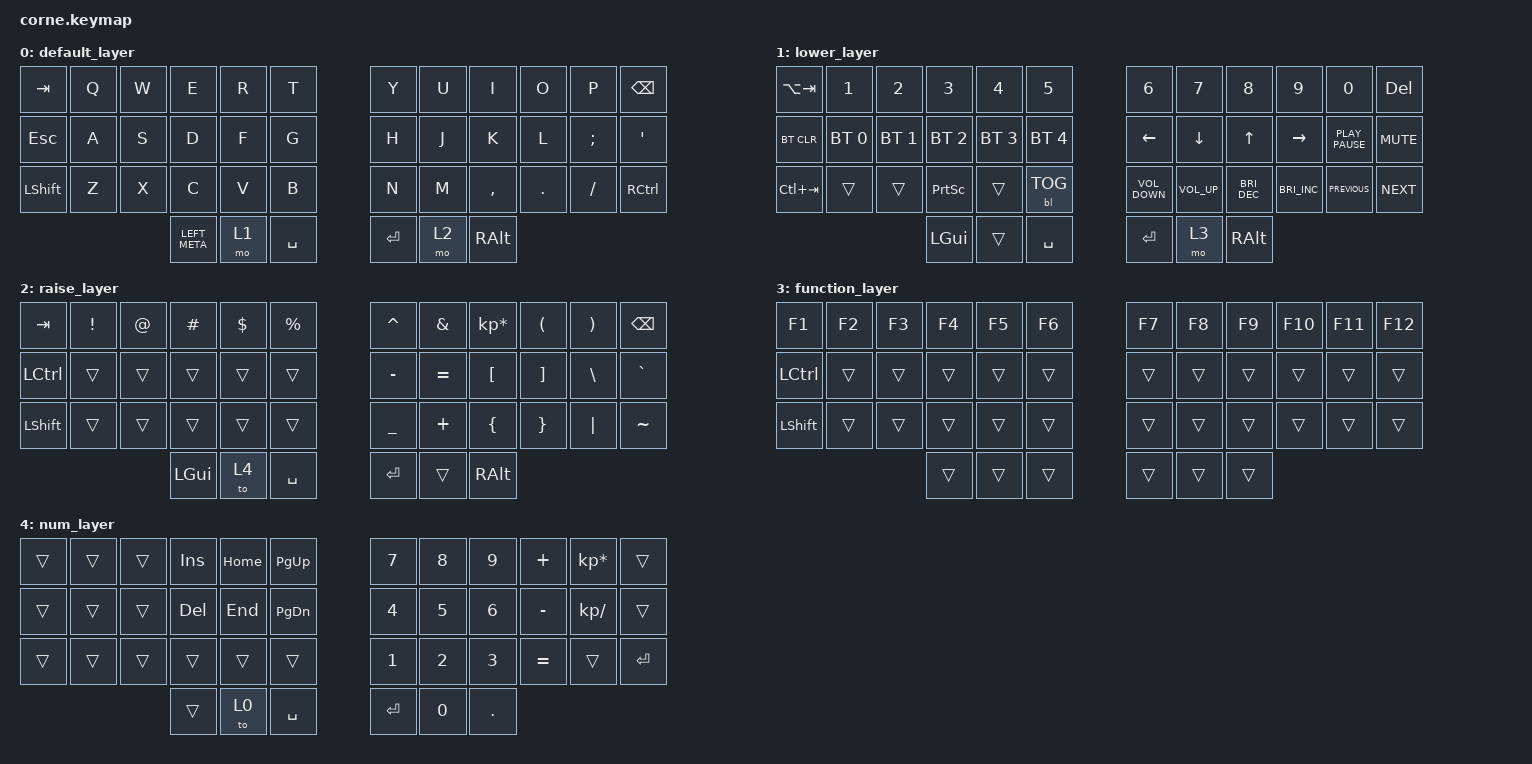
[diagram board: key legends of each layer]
/*
 * Copyright (c) 2020 The ZMK Contributors
 *
 * SPDX-License-Identifier: MIT
 */

#include <behaviors.dtsi>
#include <dt-bindings/zmk/backlight.h>
#include <dt-bindings/zmk/bt.h>
#include <dt-bindings/zmk/keys.h>

/ {
    combos { compatible = "zmk,combos"; };

    keymap {
        compatible = "zmk,keymap";

        default_layer {
            // -----------------------------------------------------------------------------------------
            // |  TAB |  Q  |  W  |  E  |  R  |  T  |   |  Y  |  U   |  I  |  O  |  P  | BKSP |
            // | CTRL |  A  |  S  |  D  |  F  |  G  |   |  H  |  J   |  K  |  L  |  ;  |  '   |
            // | SHFT |  Z  |  X  |  C  |  V  |  B  |   |  N  |  M   |  ,  |  .  |  /  | ESC  |
            //                    | GUI | LWR | SPC |   | ENT | RSE  | ALT |

            bindings = <
&kp TAB     &kp Q  &kp W  &kp E          &kp R  &kp T        &kp Y    &kp U  &kp I      &kp O    &kp P     &kp BSPC
&kp ESCAPE  &kp A  &kp S  &kp D          &kp F  &kp G        &kp H    &kp J  &kp K      &kp L    &kp SEMI  &kp SQT
&kp LSHFT   &kp Z  &kp X  &kp C          &kp V  &kp B        &kp N    &kp M  &kp COMMA  &kp DOT  &kp FSLH  &kp RIGHT_CONTROL
                          &kp LEFT_META  &mo 1  &kp SPACE    &kp RET  &mo 2  &kp RALT
            >;
        };

        lower_layer {
            // -----------------------------------------------------------------------------------------
            // |  TAB |  1  |  2  |  3  |  4  |  5  |   |  6  |  7  |  8  |  9  |  0  | BKSP |
            // | BTCLR| BT1 | BT2 | BT3 | BT4 | BT5 |   | LFT | DWN |  UP | RGT |     |      |
            // | SHFT |     |     |     |     |     |   |     |     |     |     |     |      |
            //                    | GUI |     | SPC |   | ENT |     | ALT |

            bindings = <
&kp LA(TAB)  &kp N1        &kp N2        &kp N3           &kp N4        &kp N5          &kp N6             &kp N7           &kp N8                &kp N9                &kp N0            &kp DELETE
&bt BT_CLR   &bt BT_SEL 0  &bt BT_SEL 1  &bt BT_SEL 2     &bt BT_SEL 3  &bt BT_SEL 4    &kp LEFT           &kp DOWN         &kp UP                &kp RIGHT             &kp K_PLAY_PAUSE  &kp C_MUTE
&kp LC(TAB)  &trans        &trans        &kp PRINTSCREEN  &trans        &bl BL_TOG      &kp C_VOLUME_DOWN  &kp C_VOLUME_UP  &kp C_BRIGHTNESS_DEC  &kp C_BRIGHTNESS_INC  &kp C_PREVIOUS    &kp C_NEXT
                                         &kp LGUI         &trans        &kp SPACE       &kp RET            &mo 3            &kp RALT
            >;
        };

        raise_layer {
            // -----------------------------------------------------------------------------------------
            // |  TAB |  !  |  @  |  #  |  $  |  %  |   |  ^  |  &  |  *  |  (  |  )  | BKSP |
            // | CTRL |     |     |     |     |     |   |  -  |  =  |  [  |  ]  |  \  |  `   |
            // | SHFT |     |     |     |     |     |   |  _  |  +  |  {  |  }  | "|" |  ~   |
            //                    | GUI |     | SPC |   | ENT |     | ALT |

            bindings = <
&kp TAB    &kp EXCL  &kp AT  &kp HASH  &kp DLLR  &kp PRCNT    &kp CARET  &kp AMPS   &kp KP_MULTIPLY  &kp LPAR  &kp RPAR  &kp BSPC
&kp LCTRL  &trans    &trans  &trans    &trans    &trans       &kp MINUS  &kp EQUAL  &kp LBKT         &kp RBKT  &kp BSLH  &kp GRAVE
&kp LSHFT  &trans    &trans  &trans    &trans    &trans       &kp UNDER  &kp PLUS   &kp LBRC         &kp RBRC  &kp PIPE  &kp TILDE
                             &kp LGUI  &to 4     &kp SPACE    &kp RET    &trans     &kp RALT
            >;
        };

        function_layer {
            bindings = <
&kp F1     &kp F2  &kp F3  &kp F4  &kp F5  &kp F6    &kp F7  &kp F8  &kp F9  &kp F10  &kp F11  &kp F12
&kp LCTRL  &trans  &trans  &trans  &trans  &trans    &trans  &trans  &trans  &trans   &trans   &trans
&kp LSHFT  &trans  &trans  &trans  &trans  &trans    &trans  &trans  &trans  &trans   &trans   &trans
                           &trans  &trans  &trans    &trans  &trans  &trans
            >;
        };

        num_layer {
            bindings = <
&trans  &trans  &trans  &kp INS  &kp HOME  &kp PG_UP    &kp N7   &kp N8  &kp N9   &kp PLUS   &kp KP_MULTIPLY  &trans
&trans  &trans  &trans  &kp DEL  &kp END   &kp PG_DN    &kp N4   &kp N5  &kp N6   &kp MINUS  &kp KP_DIVIDE    &trans
&trans  &trans  &trans  &trans   &trans    &trans       &kp N1   &kp N2  &kp N3   &kp EQUAL  &trans           &kp RET
                        &trans   &to 0     &kp SPACE    &kp RET  &kp N0  &kp DOT
            >;
        };
    };
};
